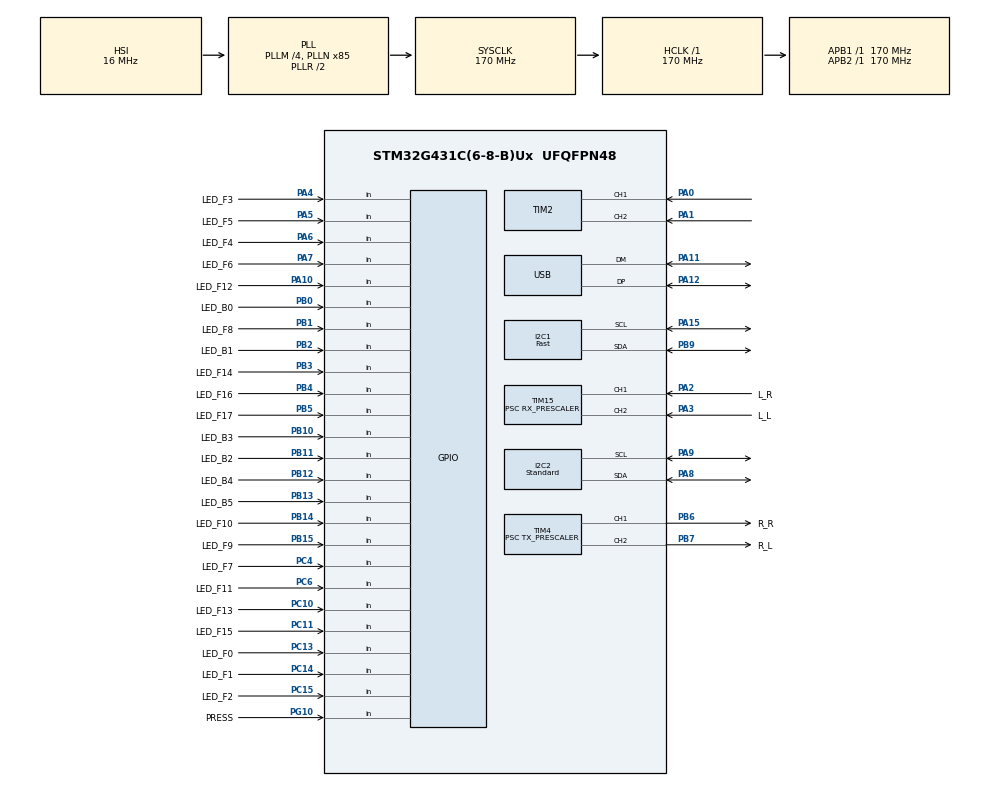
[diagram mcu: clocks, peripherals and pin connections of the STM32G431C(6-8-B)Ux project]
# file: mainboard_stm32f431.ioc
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Dma.I2C1_TX.1.Direction=DMA_MEMORY_TO_PERIPH
Dma.I2C1_TX.1.EventEnable=DISABLE
Dma.I2C1_TX.1.Instance=DMA1_Channel1
Dma.I2C1_TX.1.MemDataAlignment=DMA_MDATAALIGN_BYTE
Dma.I2C1_TX.1.MemInc=DMA_MINC_ENABLE
Dma.I2C1_TX.1.Mode=DMA_NORMAL
Dma.I2C1_TX.1.PeriphDataAlignment=DMA_PDATAALIGN_BYTE
Dma.I2C1_TX.1.PeriphInc=DMA_PINC_DISABLE
Dma.I2C1_TX.1.Polarity=HAL_DMAMUX_REQ_GEN_RISING
Dma.I2C1_TX.1.Priority=DMA_PRIORITY_LOW
Dma.I2C1_TX.1.RequestNumber=1
Dma.I2C1_TX.1.SignalID=NONE
Dma.I2C1_TX.1.SyncEnable=DISABLE
Dma.I2C1_TX.1.SyncPolarity=HAL_DMAMUX_SYNC_NO_EVENT
Dma.I2C1_TX.1.SyncRequestNumber=1
Dma.I2C1_TX.1.SyncSignalID=NONE
Dma.I2C2_RX.0.Direction=DMA_PERIPH_TO_MEMORY
Dma.I2C2_RX.0.EventEnable=DISABLE
Dma.I2C2_RX.0.Instance=DMA1_Channel2
Dma.I2C2_RX.0.MemDataAlignment=DMA_MDATAALIGN_BYTE
Dma.I2C2_RX.0.MemInc=DMA_MINC_ENABLE
Dma.I2C2_RX.0.Mode=DMA_NORMAL
Dma.I2C2_RX.0.PeriphDataAlignment=DMA_PDATAALIGN_BYTE
Dma.I2C2_RX.0.PeriphInc=DMA_PINC_DISABLE
Dma.I2C2_RX.0.Polarity=HAL_DMAMUX_REQ_GEN_RISING
Dma.I2C2_RX.0.Priority=DMA_PRIORITY_LOW
Dma.I2C2_RX.0.RequestNumber=1
Dma.I2C2_RX.0.SignalID=NONE
Dma.I2C2_RX.0.SyncEnable=DISABLE
Dma.I2C2_RX.0.SyncPolarity=HAL_DMAMUX_SYNC_NO_EVENT
Dma.I2C2_RX.0.SyncRequestNumber=1
Dma.I2C2_RX.0.SyncSignalID=NONE
Dma.Request0=I2C2_RX
Dma.Request1=I2C1_TX
I2C1.I2C_Speed_Mode=I2C_Fast
I2C1.NoStretchMode=I2C_NOSTRETCH_ENABLE
I2C1.Timing=0x40621236
I2C2.I2C_Speed_Mode=I2C_Standard
I2C2.NoStretchMode=I2C_NOSTRETCH_ENABLE
I2C2.Timing=0x40B285C2
Mcu.Family=STM32G4
Mcu.Name=STM32G431C(6-8-B)Ux
Mcu.Package=UFQFPN48
Mcu.UserConstants=ISR_PRESCALER,170-1;ISR_COUNT_PERIOD,(TIM_CLK_MHz*1000000/ISR_FREQUENCY/(ISR_PRESCALER + 1)-1);ISR_FREQUENCY,500;TIM_CLK_MHz,170;RX_PRESCALER,7;RX_COUNT_PERIOD,65535;TX_FREQUENCY,500;TX_PRESCALER,170-1;TX_COUNT_PERIOD,(TIM_CLK_MHz*1000000/TX_FREQUENCY/(TX_PRESCALER + 1)-1)
NVIC.DMA1_Channel1_IRQn=true\:0\:0\:true\:false\:true\:false\:true\:true
NVIC.DMA1_Channel2_IRQn=true\:0\:0\:false\:false\:true\:false\:true\:true
NVIC.I2C1_EV_IRQn=true\:0\:0\:true\:false\:true\:true\:true\:true
NVIC.I2C2_ER_IRQn=true\:0\:0\:true\:false\:true\:true\:true\:true
NVIC.I2C2_EV_IRQn=true\:0\:0\:false\:false\:true\:true\:true\:true
NVIC.PriorityGroup=NVIC_PRIORITYGROUP_4
NVIC.TIM1_BRK_TIM15_IRQn=true\:0\:0\:true\:false\:true\:true\:true\:true
NVIC.TIM6_DAC_IRQn=true\:0\:0\:true\:false\:true\:true\:true\:true
NVIC.USB_LP_IRQn=true\:0\:0\:true\:false\:true\:false\:true\:true
PA0.GPIO_PuPd=GPIO_PULLUP
PA0.Signal=S_TIM2_CH1
PA1.GPIO_PuPd=GPIO_PULLUP
PA1.Signal=S_TIM2_CH2
PA10.GPIO_Label=LED_F12
PA10.Signal=GPIO_Input
PA11.Mode=Device
PA11.Signal=USB_DM
PA12.Mode=Device
PA12.Signal=USB_DP
PA15.GPIO_Speed=GPIO_SPEED_FREQ_LOW
PA15.Mode=I2C
PA15.Signal=I2C1_SCL
PA2.GPIO_Label=L_R
PA2.GPIO_PuPd=GPIO_NOPULL
PA2.Signal=S_TIM15_CH1
PA3.GPIO_Label=L_L
PA3.GPIO_PuPd=GPIO_NOPULL
PA3.Signal=S_TIM15_CH2
PA4.GPIO_Label=LED_F3
PA4.Signal=GPIO_Input
PA5.GPIO_Label=LED_F5
PA5.Signal=GPIO_Input
PA6.GPIO_Label=LED_F4
PA6.Signal=GPIO_Input
PA7.GPIO_Label=LED_F6
PA7.Signal=GPIO_Input
PA8.GPIO_Speed=GPIO_SPEED_FREQ_LOW
PA8.Mode=I2C
PA8.Signal=I2C2_SDA
PA9.GPIO_Speed=GPIO_SPEED_FREQ_LOW
PA9.Mode=I2C
PA9.Signal=I2C2_SCL
PB0.GPIO_Label=LED_B0
PB0.Signal=GPIO_Input
PB1.GPIO_Label=LED_F8
PB1.Signal=GPIO_Input
PB10.GPIO_Label=LED_B3
PB10.Signal=GPIO_Input
PB11.GPIO_Label=LED_B2
PB11.Signal=GPIO_Input
PB12.GPIO_Label=LED_B4
PB12.Signal=GPIO_Input
PB13.GPIO_Label=LED_B5
PB13.Signal=GPIO_Input
PB14.GPIO_Label=LED_F10
PB14.Signal=GPIO_Input
PB15.GPIO_Label=LED_F9
PB15.Signal=GPIO_Input
PB2.GPIO_Label=LED_B1
PB2.Signal=GPIO_Input
PB3.GPIO_Label=LED_F14
PB3.Signal=GPIO_Input
PB4.GPIO_Label=LED_F16
PB4.Signal=GPIO_Input
PB5.GPIO_Label=LED_F17
PB5.Signal=GPIO_Input
PB6.GPIO_Label=R_R
PB6.GPIO_PuPd=GPIO_NOPULL
PB6.GPIO_Speed=GPIO_SPEED_FREQ_LOW
PB6.Signal=S_TIM4_CH1
PB7.GPIO_Label=R_L
PB7.GPIO_PuPd=GPIO_NOPULL
PB7.GPIO_Speed=GPIO_SPEED_FREQ_LOW
PB7.Signal=S_TIM4_CH2
PB9.GPIO_FM9=__NULL
PB9.GPIO_Speed=GPIO_SPEED_FREQ_LOW
PB9.Mode=I2C
PB9.Signal=I2C1_SDA
PC10.GPIO_Label=LED_F13
PC10.Signal=GPIO_Input
PC11.GPIO_Label=LED_F15
PC11.Signal=GPIO_Input
PC13.GPIO_Label=LED_F0
PC13.Signal=GPIO_Input
PC14-OSC32_IN.GPIO_Label=LED_F1
PC14-OSC32_IN.Signal=GPIO_Input
PC15-OSC32_OUT.GPIO_Label=LED_F2
PC15-OSC32_OUT.Signal=GPIO_Input
PC4.GPIO_Label=LED_F7
PC4.Signal=GPIO_Input
PC6.GPIO_Label=LED_F11
PC6.Signal=GPIO_Input
PF0-OSC_IN.Mode=HSE-External-Oscillator
PF0-OSC_IN.Signal=RCC_OSC_IN
PF1-OSC_OUT.Mode=HSE-External-Oscillator
PF1-OSC_OUT.Signal=RCC_OSC_OUT
PG10-NRST.GPIO_Label=PRESS
PG10-NRST.GPIO_ModeDefaultEXTI=GPIO_MODE_IT_RISING_FALLING
PG10-NRST.GPIO_PuPd=GPIO_PULLUP
PG10-NRST.Signal=GPIO_Input
ProjectManager.HeapSize=0x200
ProjectManager.StackSize=0x400
ProjectManager.TargetToolchain=CMake
RCC.ADC12Freq_Value=170000000
RCC.AHBFreq_Value=170000000
RCC.APB1Freq_Value=170000000
RCC.APB1TimFreq_Value=170000000
RCC.APB2Freq_Value=170000000
RCC.APB2TimFreq_Value=170000000
RCC.CK48CLockSelection=RCC_USBCLKSOURCE_HSI48
RCC.CortexFreq_Value=170000000
RCC.EXTERNAL_CLOCK_VALUE=12288000
RCC.HCLKFreq_Value=170000000
RCC.HSE_VALUE=8000000
RCC.HSI48_VALUE=48000000
RCC.HSI_VALUE=16000000
RCC.LSE_VALUE=32768
RCC.PLLM=RCC_PLLM_DIV4
RCC.PLLN=85
RCC.SYSCLKFreq_VALUE=170000000
RCC.SYSCLKSource=RCC_SYSCLKSOURCE_PLLCLK
RCC.USBFreq_Value=48000000
RCC.VCOOutputFreq_Value=340000000
SH.S_TIM15_CH1.0=TIM15_CH1,Input_Capture1_from_TI1
SH.S_TIM15_CH2.0=TIM15_CH2,Input_Capture2_from_TI2
SH.S_TIM2_CH1.0=TIM2_CH1,Encoder_Interface
SH.S_TIM2_CH2.0=TIM2_CH2,Encoder_Interface
SH.S_TIM4_CH1.0=TIM4_CH1,PWM Generation1 CH1
SH.S_TIM4_CH2.0=TIM4_CH2,PWM Generation2 CH2
TIM15.Channel-Input_Capture1_from_TI1=TIM_CHANNEL_1
TIM15.Channel-Input_Capture2_from_TI2=TIM_CHANNEL_2
TIM15.ICPolarity_CH2=TIM_INPUTCHANNELPOLARITY_RISING
TIM15.PeriodNoDither=RX_COUNT_PERIOD
TIM15.Prescaler=RX_PRESCALER
TIM2.ClockDivision=TIM_CLOCKDIVISION_DIV1
TIM2.EncoderMode=TIM_ENCODERMODE_TI12
TIM4.Channel-PWM\ Generation1\ CH1=TIM_CHANNEL_1
TIM4.Channel-PWM\ Generation2\ CH2=TIM_CHANNEL_2
TIM4.OCFastMode_PWM-PWM\ Generation1\ CH1=TIM_OCFAST_ENABLE
TIM4.OCFastMode_PWM-PWM\ Generation2\ CH2=TIM_OCFAST_ENABLE
TIM4.PeriodNoDither=TX_COUNT_PERIOD
TIM4.Prescaler=TX_PRESCALER
TIM6.PeriodNoDither=ISR_COUNT_PERIOD
TIM6.Prescaler=ISR_PRESCALER
USB_DEVICE.CLASS_NAME_FS=CDC
USB_DEVICE.VirtualMode=Cdc
USB_DEVICE.VirtualModeFS=Cdc_FS
VP_SYS_VS_DBSignals.Mode=DisableDeadBatterySignals
VP_TIM15_VS_ClockSourceINT.Mode=Internal
VP_TIM6_VS_ClockSourceINT.Mode=Enable_Timer
VP_USB_DEVICE_VS_USB_DEVICE_CDC_FS.Mode=CDC_FS
board=custom

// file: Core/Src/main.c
/* USER CODE BEGIN Header */
/**
  ******************************************************************************
  * @file           : main.c
  * @brief          : Main program body
  ******************************************************************************
  * @attention
  *
  * Copyright (c) 2025 STMicroelectronics.
  * All rights reserved.
  *
  * This software is licensed under terms that can be found in the LICENSE file
  * in the root directory of this software component.
  * If no LICENSE file comes with this software, it is provided AS-IS.
  *
  ******************************************************************************
  */
/* USER CODE END Header */
#include "main.h"
#include "dma.h"
#include "i2c.h"
#include "tim.h"
#include "usb_device.h"
#include "gpio.h"

/* USER CODE BEGIN Includes */
#include "usbd_cdc_if.h"
#include "ssd1306.h"
#include "icm42688.h"
#include "interface.h"
/* USER CODE END Includes */

void SystemClock_Config(void);

/* USER CODE BEGIN 0 */

extern uint64_t total_time_10ms;
/* USER CODE END 0 */

int main(void)
{

  /* MCU Configuration--------------------------------------------------------*/

  /* Reset of all peripherals, Initializes the Flash interface and the Systick. */
  HAL_Init();

  /* Configure the system clock */
  SystemClock_Config();

  /* Initialize all configured peripherals */
  MX_GPIO_Init();
  MX_DMA_Init();
  MX_USB_Device_Init();
  MX_I2C1_Init();
  MX_TIM2_Init();
  MX_I2C2_Init();
  MX_TIM6_Init();
  MX_TIM4_Init();
  MX_TIM15_Init();
  /* USER CODE BEGIN 2 */
  ssd1306_Init();
  ssd1306_FlipScreenVertically();
  ssd1306_SetColor(White);

  HAL_Delay(100);
  // 初始化ICM42688
  ICM42688_Init(&hi2c2);

  HAL_TIM_Encoder_Start(&htim2, TIM_CHANNEL_ALL);

  HAL_TIM_Base_Start_IT(&htim6);

  HAL_TIM_PWM_Start(&htim4,TIM_CHANNEL_1);
  HAL_TIM_PWM_Start(&htim4,TIM_CHANNEL_2);

  HAL_TIM_IC_Start_IT(&htim15, TIM_CHANNEL_1);
  HAL_TIM_IC_Start_IT(&htim15, TIM_CHANNEL_2);
  /* USER CODE END 2 */

  /* Infinite loop */
  /* USER CODE BEGIN WHILE */
  __HAL_TIM_SET_COMPARE(&htim15, TIM_CHANNEL_2, TX_COUNT_PERIOD / 2);  // L_TX
  __HAL_TIM_SET_COMPARE(&htim4, TIM_CHANNEL_2, TX_COUNT_PERIOD / 2);  // R_TX
  while (1) {
    /* USER CODE END WHILE */

    /* USER CODE BEGIN 3 */

    interface_main();
  }
  /* USER CODE END 3 */
}

void SystemClock_Config(void)
{
  RCC_OscInitTypeDef RCC_OscInitStruct = {0};
  RCC_ClkInitTypeDef RCC_ClkInitStruct = {0};

  /** Configure the main internal regulator output voltage
  */
  HAL_PWREx_ControlVoltageScaling(PWR_REGULATOR_VOLTAGE_SCALE1_BOOST);

  /** Initializes the RCC Oscillators according to the specified parameters
  * in the RCC_OscInitTypeDef structure.
  */
  RCC_OscInitStruct.OscillatorType = RCC_OSCILLATORTYPE_HSI|RCC_OSCILLATORTYPE_HSI48;
  RCC_OscInitStruct.HSIState = RCC_HSI_ON;
  RCC_OscInitStruct.HSICalibrationValue = RCC_HSICALIBRATION_DEFAULT;
  RCC_OscInitStruct.HSI48State = RCC_HSI48_ON;
  RCC_OscInitStruct.PLL.PLLState = RCC_PLL_ON;
  RCC_OscInitStruct.PLL.PLLSource = RCC_PLLSOURCE_HSI;
  RCC_OscInitStruct.PLL.PLLM = RCC_PLLM_DIV4;
  RCC_OscInitStruct.PLL.PLLN = 85;
  RCC_OscInitStruct.PLL.PLLP = RCC_PLLP_DIV2;
  RCC_OscInitStruct.PLL.PLLQ = RCC_PLLQ_DIV2;
  RCC_OscInitStruct.PLL.PLLR = RCC_PLLR_DIV2;
  if (HAL_RCC_OscConfig(&RCC_OscInitStruct) != HAL_OK)
  {
    Error_Handler();
  }

  /** Initializes the CPU, AHB and APB buses clocks
  */
  RCC_ClkInitStruct.ClockType = RCC_CLOCKTYPE_HCLK|RCC_CLOCKTYPE_SYSCLK
                              |RCC_CLOCKTYPE_PCLK1|RCC_CLOCKTYPE_PCLK2;
  RCC_ClkInitStruct.SYSCLKSource = RCC_SYSCLKSOURCE_PLLCLK;
  RCC_ClkInitStruct.AHBCLKDivider = RCC_SYSCLK_DIV1;
  RCC_ClkInitStruct.APB1CLKDivider = RCC_HCLK_DIV1;
  RCC_ClkInitStruct.APB2CLKDivider = RCC_HCLK_DIV1;

  if (HAL_RCC_ClockConfig(&RCC_ClkInitStruct, FLASH_LATENCY_4) != HAL_OK)
  {
    Error_Handler();
  }
}

/* USER CODE BEGIN 4 */

int _write(const int file, char *ptr, const int len) {
  CDC_Transmit_FS((uint8_t *)ptr, len);
  (void)file;
  // static uint8_t rc = USBD_OK;
  //
  // do {
  //   rc = CDC_Transmit_FS(ptr, len);
  // } while (USBD_BUSY == rc);
  //
  // if (USBD_FAIL == rc) {
  //   /// NOTE: Should never reach here.
  //   return 0;
  // }
  return len;
}

/* USER CODE END 4 */

void Error_Handler(void)
{
  /* USER CODE BEGIN Error_Handler_Debug */
  /* User can add his own implementation to report the HAL error return state */
  __disable_irq();

  char chr[256];
  ssd1306_Init();
  ssd1306_FlipScreenVertically();
  sprintf(chr, "Error_Handler");
  ssd1306_SetCursor(0, 0);
  ssd1306_SetColor(White);
  ssd1306_WriteString(chr, Font_7x10);
  ssd1306_UpdateScreen();
  while (1) {
  }
  /* USER CODE END Error_Handler_Debug */
}

#ifdef  USE_FULL_ASSERT
/**
  * @brief  Reports the name of the source file and the source line number
  *         where the assert_param error has occurred.
  * @param  file: pointer to the source file name
  * @param  line: assert_param error line source number
  * @retval None
  */
void assert_failed(uint8_t *file, uint32_t line)
{
  /* USER CODE BEGIN 6 */
  /* User can add his own implementation to report the file name and line number,
     ex: printf("Wrong parameters value: file %s on line %d\r\n", file, line) */
  char chr[256];
  ssd1306_Init();
  ssd1306_FlipScreenVertically();
  sprintf(chr, "ERR: %s on line %d ", file, line);
  ssd1306_SetCursor(0, 0);
  ssd1306_SetColor(White);
  ssd1306_WriteString(chr, Font_7x10);
  ssd1306_UpdateScreen();
  while (1) {
  }
  /* USER CODE END 6 */
}
#endif /* USE_FULL_ASSERT */
